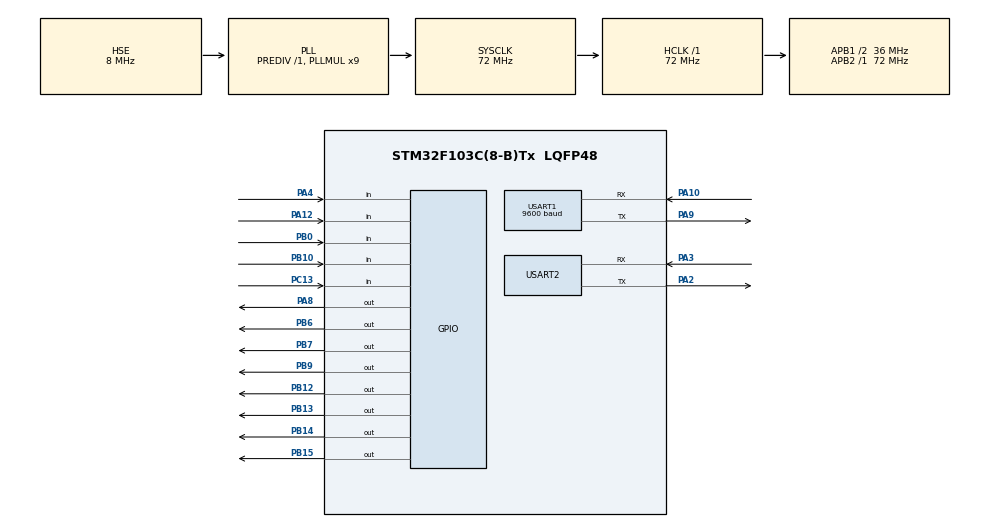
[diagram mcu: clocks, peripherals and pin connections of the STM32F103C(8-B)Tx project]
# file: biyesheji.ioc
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Mcu.Family=STM32F1
Mcu.Name=STM32F103C(8-B)Tx
Mcu.Package=LQFP48
NVIC.PriorityGroup=NVIC_PRIORITYGROUP_4
NVIC.TIM4_IRQn=true\:15\:0\:false\:false\:true\:true\:true\:true
NVIC.USART1_IRQn=true\:0\:0\:false\:false\:true\:true\:true\:true
NVIC.USART2_IRQn=true\:0\:0\:false\:false\:true\:true\:true\:true
PA10.Mode=Asynchronous
PA10.Signal=USART1_RX
PA12.GPIO_PuPd=GPIO_PULLUP
PA12.Signal=GPIO_Input
PA13.Mode=Serial_Wire
PA13.Signal=SYS_JTMS-SWDIO
PA14.Mode=Serial_Wire
PA14.Signal=SYS_JTCK-SWCLK
PA2.Mode=Asynchronous
PA2.Signal=USART2_TX
PA3.Mode=Asynchronous
PA3.Signal=USART2_RX
PA4.GPIO_PuPd=GPIO_PULLUP
PA4.Signal=GPIO_Input
PA8.GPIO_ModeDefaultOutputPP=GPIO_MODE_OUTPUT_OD
PA8.GPIO_PuPd=GPIO_NOPULL
PA8.PinState=GPIO_PIN_SET
PA8.Signal=GPIO_Output
PA9.Mode=Asynchronous
PA9.Signal=USART1_TX
PB0.GPIO_PuPd=GPIO_PULLUP
PB0.Signal=GPIO_Input
PB10.GPIO_PuPd=GPIO_PULLUP
PB10.Signal=GPIO_Input
PB12.GPIO_Speed=GPIO_SPEED_FREQ_LOW
PB12.PinState=GPIO_PIN_SET
PB12.Signal=GPIO_Output
PB13.PinState=GPIO_PIN_SET
PB13.Signal=GPIO_Output
PB14.PinState=GPIO_PIN_SET
PB14.Signal=GPIO_Output
PB15.PinState=GPIO_PIN_SET
PB15.Signal=GPIO_Output
PB6.Signal=GPIO_Output
PB7.Signal=GPIO_Output
PB9.GPIO_ModeDefaultOutputPP=GPIO_MODE_OUTPUT_PP
PB9.PinState=GPIO_PIN_SET
PB9.Signal=GPIO_Output
PC13-TAMPER-RTC.GPIO_PuPd=GPIO_PULLUP
PC13-TAMPER-RTC.Signal=GPIO_Input
PD0-OSC_IN.Mode=HSE-External-Oscillator
PD0-OSC_IN.Signal=RCC_OSC_IN
PD1-OSC_OUT.Mode=HSE-External-Oscillator
PD1-OSC_OUT.Signal=RCC_OSC_OUT
ProjectManager.HeapSize=0x200
ProjectManager.StackSize=0x400
ProjectManager.TargetToolchain=MDK-ARM V5.32
RCC.AHBFreq_Value=72000000
RCC.APB1CLKDivider=RCC_HCLK_DIV2
RCC.APB1Freq_Value=36000000
RCC.APB1TimFreq_Value=72000000
RCC.APB2Freq_Value=72000000
RCC.APB2TimFreq_Value=72000000
RCC.HCLKFreq_Value=72000000
RCC.PLLMUL=RCC_PLL_MUL9
RCC.PLLSourceVirtual=RCC_PLLSOURCE_HSE
RCC.SYSCLKFreq_VALUE=72000000
RCC.SYSCLKSource=RCC_SYSCLKSOURCE_PLLCLK
RCC.USBFreq_Value=72000000
TIM3.Prescaler=240-1
TIM4.Period=1000-1
TIM4.Prescaler=72-1
USART1.BaudRate=9600
USART1.VirtualMode=VM_ASYNC
USART2.VirtualMode=VM_ASYNC
VP_TIM3_VS_ClockSourceINT.Mode=Internal
VP_TIM4_VS_ClockSourceINT.Mode=Internal
board=custom

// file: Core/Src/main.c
/* USER CODE BEGIN Header */
/**
  ******************************************************************************
  * @file           : main.c
  * @brief          : Main program body
  ******************************************************************************
  * @attention
  *
  * Copyright (c) 2025 STMicroelectronics.
  * All rights reserved.
  *
  * This software is licensed under terms that can be found in the LICENSE file
  * in the root directory of this software component.
  * If no LICENSE file comes with this software, it is provided AS-IS.
  *
  ******************************************************************************
  */
/* USER CODE END Header */
#include "main.h"
#include "tim.h"
#include "usart.h"
#include "gpio.h"

/* USER CODE BEGIN Includes */
#include "OLED.h"
#include "dwt_delay.h"
#include "Ds18B20.h"
#include "IC.h"
#include "stepmotor.h"
#include  "key.h"
#include "water.h"
/* USER CODE END Includes */

void SystemClock_Config(void);

/* USER CODE BEGIN 0 */
extern uint8_t zhuangtai;
/* USER CODE END 0 */

int main(void)
{

  /* MCU Configuration--------------------------------------------------------*/

  /* Reset of all peripherals, Initializes the Flash interface and the Systick. */
  HAL_Init();

  /* Configure the system clock */
  SystemClock_Config();

  /* USER CODE BEGIN SysInit */
	DWT_Init();
  /* USER CODE END SysInit */

  /* Initialize all configured peripherals */
  MX_GPIO_Init();
  MX_TIM4_Init();
  MX_USART1_UART_Init();
  MX_USART2_UART_Init();
  MX_TIM3_Init();
  /* USER CODE BEGIN 2 */
	OLED_Init();
	IC_Init();
	MOTOR_Init();
  /* USER CODE END 2 */

  /* Infinite loop */
  /* USER CODE BEGIN WHILE */
//  jiemian1();
	chushijiemian();
  while (1)
  {
	  anjianjiance();     //循环检测按键是否被按下
	disushezhi();       //OLED屏幕上显示设置的滴速
	temset();           //OLED屏幕上显示设置的温度
	kaiguan_control();  //检测系统运行状态

	  if(zhuangtai==1)  //单独一个按键控制系统运行状态
	  {
	    wendujiance();
		disujiance();
	    anjianjiance();
//	  disushezhi();
//	  temset();
	  yaoyejiance();
	  Relay_Control();
	  Motor_Control();
	  }
//	   KeyNum=0;
//	    Delay_ms(100);
//		HAL_Delay(1000);
//	  	jiemian2();
//		Delay_ms(1000);
//		HAL_Delay(1000);
//	  printf("老铁双击[%d]\r\n",666);
//	   wendujiance();
    /* USER CODE END WHILE */

  }
}

void SystemClock_Config(void)
{
  RCC_OscInitTypeDef RCC_OscInitStruct = {0};
  RCC_ClkInitTypeDef RCC_ClkInitStruct = {0};

  /** Initializes the RCC Oscillators according to the specified parameters
  * in the RCC_OscInitTypeDef structure.
  */
  RCC_OscInitStruct.OscillatorType = RCC_OSCILLATORTYPE_HSE;
  RCC_OscInitStruct.HSEState = RCC_HSE_ON;
  RCC_OscInitStruct.HSEPredivValue = RCC_HSE_PREDIV_DIV1;
  RCC_OscInitStruct.HSIState = RCC_HSI_ON;
  RCC_OscInitStruct.PLL.PLLState = RCC_PLL_ON;
  RCC_OscInitStruct.PLL.PLLSource = RCC_PLLSOURCE_HSE;
  RCC_OscInitStruct.PLL.PLLMUL = RCC_PLL_MUL9;
  if (HAL_RCC_OscConfig(&RCC_OscInitStruct) != HAL_OK)
  {
    Error_Handler();
  }

  /** Initializes the CPU, AHB and APB buses clocks
  */
  RCC_ClkInitStruct.ClockType = RCC_CLOCKTYPE_HCLK|RCC_CLOCKTYPE_SYSCLK
                              |RCC_CLOCKTYPE_PCLK1|RCC_CLOCKTYPE_PCLK2;
  RCC_ClkInitStruct.SYSCLKSource = RCC_SYSCLKSOURCE_PLLCLK;
  RCC_ClkInitStruct.AHBCLKDivider = RCC_SYSCLK_DIV1;
  RCC_ClkInitStruct.APB1CLKDivider = RCC_HCLK_DIV2;
  RCC_ClkInitStruct.APB2CLKDivider = RCC_HCLK_DIV1;

  if (HAL_RCC_ClockConfig(&RCC_ClkInitStruct, FLASH_LATENCY_2) != HAL_OK)
  {
    Error_Handler();
  }
}

void Error_Handler(void)
{
  __disable_irq();
  while (1)
  {
  }
}
